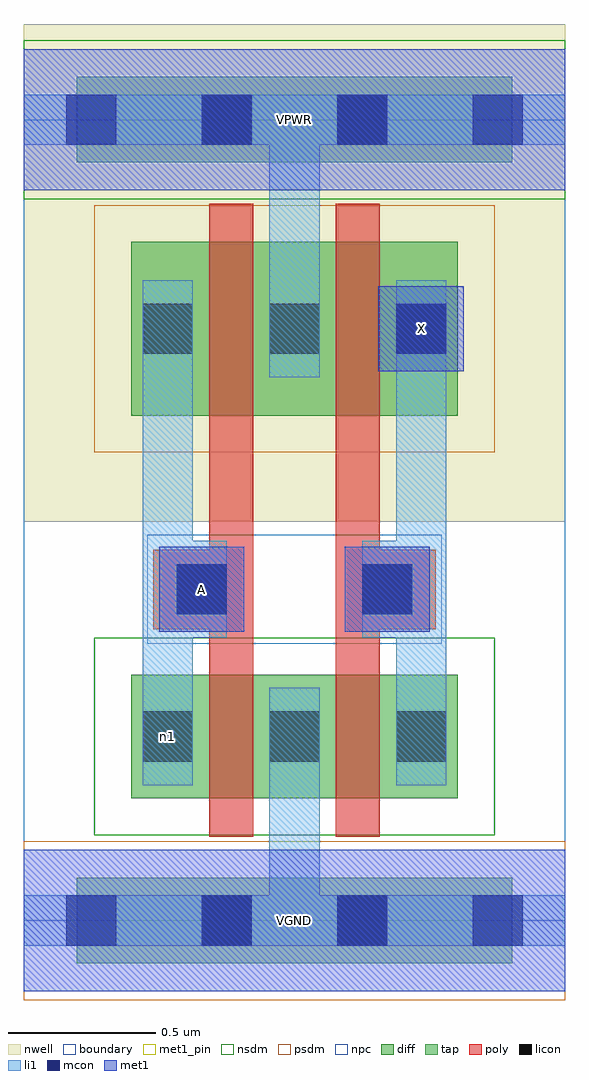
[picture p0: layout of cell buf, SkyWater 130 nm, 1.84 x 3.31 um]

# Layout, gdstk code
import gdstk
lib = gdstk.Library(unit=1e-6, precision=1e-09)
def R(c, l, rs):  # rectangles x0, y0, x1, y1
    for r in rs: c.add(gdstk.rectangle(r[:2], r[2:], *l))
def A(c, l, x, y, w, h, nx, ny, dx, dy):  # array of equal rectangles
    R(c, l, [(x+i*dx, y+j*dy, x+i*dx+w, y+j*dy+h) for i in range(nx) for j in range(ny)])
nwell = (64, 20)
diff = (65, 20)
tap = (65, 44)
poly = (66, 20)
licon = (66, 44)
li1 = (67, 20)
mcon = (67, 44)
met1_pin = (68, 16)
met1 = (68, 20)
nsdm = (93, 44)
psdm = (94, 20)
npc = (95, 20)
boundary = (235, 4)

buf = lib.new_cell('buf')
R(buf, nwell, [(0,1.355,1.84,3.045)])
R(buf, diff, [(0.365,0.415,1.475,0.835), (0.365,1.715,1.475,2.305)])
R(buf, tap, [(0.18,-0.145,1.66,0.145), (0.18,2.575,1.66,2.865)])
R(buf, poly, [(0.63,0.285,0.78,2.435), (1.06,0.285,1.21,2.435), (0.44,0.99,0.77,1.26), (1.07,0.99,1.4,1.26)])
A(buf, licon, 0.405, 0.54, 0.17, 0.17, 3, 2, 0.43, 1.385)
R(buf, licon, [(0.605,-0.085,0.775,0.085), (1.065,-0.085,1.235,0.085), (0.52,1.04,0.69,1.21), (1.15,1.04,1.32,1.21), (0.605,2.635,0.775,2.805), (1.065,2.635,1.235,2.805)])
A(buf, li1, 0.405, 0.46, 0.17, 0.33, 3, 2, 0.43, 1.385)
R(buf, li1, [(0,-0.085,1.84,0.085), (0.835,-0.085,1.005,0.79), (0.405,0.46,0.575,2.175), (1.265,0.46,1.435,2.175), (0.52,0.96,0.69,1.29), (1.15,0.96,1.32,1.29), (0.835,1.845,1.005,2.805), (0,2.635,1.84,2.805)])
A(buf, mcon, 0.145, -0.085, 0.17, 0.17, 4, 2, 0.46, 2.72)
R(buf, mcon, [(0.52,1.04,0.69,1.21), (1.15,1.04,1.32,1.21), (1.265,1.925,1.435,2.095)])
R(buf, met1_pin, [(0,-0.24,1.84,0.24), (0.46,0.98,0.75,1.27), (1.205,1.865,1.495,2.155), (0,2.48,1.84,2.96)])
R(buf, met1, [(0,-0.24,1.84,0.24), (0.46,0.98,0.75,1.27), (1.09,0.98,1.38,1.27), (1.205,1.865,1.495,2.155), (0,2.48,1.84,2.96)])
R(buf, nsdm, [(0.24,0.29,1.6,0.96), (0,2.45,1.84,2.99)])
R(buf, psdm, [(0,-0.27,1.84,0.27), (0.24,1.59,1.6,2.43)])
R(buf, npc, [(0.42,0.94,1.42,1.31)])
R(buf, boundary, [(0,0,1.84,2.72)])
buf.add(gdstk.Label('n1', (0.49,0.625), layer=67, texttype=5))
buf.add(gdstk.Label('A', (0.605,1.125), layer=68, texttype=5))
buf.add(gdstk.Label('X', (1.35,2.01), layer=68, texttype=5))
buf.add(gdstk.Label('VPWR', (0.92,2.72), layer=68, texttype=5))
buf.add(gdstk.Label('VGND', (0.92,0), layer=68, texttype=5))
buf.add(gdstk.Label('A', (0.605,1.125), layer=68, texttype=16))
buf.add(gdstk.Label('X', (1.35,2.01), layer=68, texttype=16))
buf.add(gdstk.Label('VPWR', (0.92,2.72), layer=68, texttype=16))
buf.add(gdstk.Label('VGND', (0.92,0), layer=68, texttype=16))

lib.write_gds('buf.gds')
